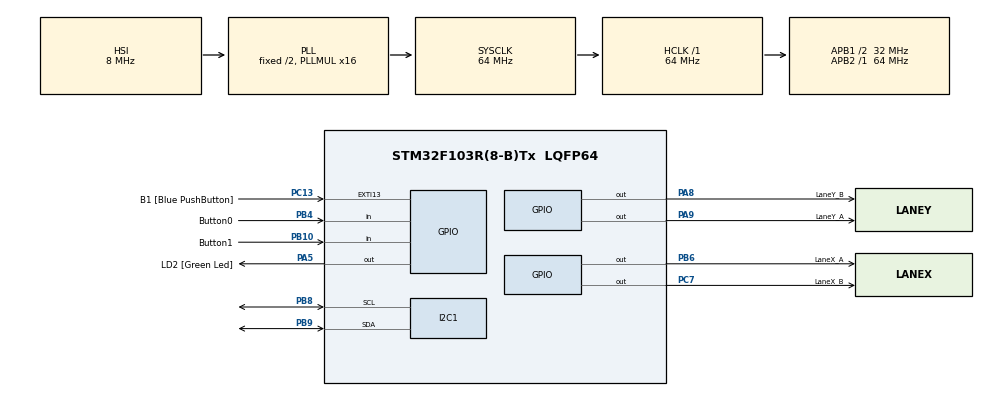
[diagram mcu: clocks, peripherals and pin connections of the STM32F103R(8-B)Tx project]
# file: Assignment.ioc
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I2C1.OwnAddress=41
Mcu.Family=STM32F1
Mcu.Name=STM32F103R(8-B)Tx
Mcu.Package=LQFP64
NVIC.EXTI15_10_IRQn=true\:0\:0\:false\:false\:true\:true\:true\:true
NVIC.I2C1_ER_IRQn=true\:0\:0\:false\:false\:true\:true\:true\:true
NVIC.I2C1_EV_IRQn=true\:0\:0\:false\:false\:true\:true\:true\:true
NVIC.PriorityGroup=NVIC_PRIORITYGROUP_4
NVIC.TIM2_IRQn=true\:0\:0\:false\:false\:true\:true\:true\:true
PA13.GPIO_Label=TMS
PA13.Mode=Serial_Wire
PA13.Signal=SYS_JTMS-SWDIO
PA14.GPIO_Label=TCK
PA14.Mode=Serial_Wire
PA14.Signal=SYS_JTCK-SWCLK
PA2.GPIO_Label=USART_TX
PA2.GPIO_Mode=GPIO_MODE_AF_PP
PA2.GPIO_PuPd=GPIO_NOPULL
PA2.GPIO_Speed=GPIO_SPEED_FREQ_LOW
PA2.Signal=USART2_TX
PA3.GPIO_Label=USART_RX
PA3.GPIO_Mode=GPIO_MODE_AF_PP
PA3.GPIO_PuPd=GPIO_NOPULL
PA3.GPIO_Speed=GPIO_SPEED_FREQ_LOW
PA3.Signal=USART2_RX
PA5.GPIO_Label=LD2 [Green Led]
PA5.GPIO_ModeDefaultOutputPP=GPIO_MODE_OUTPUT_PP
PA5.GPIO_PuPd=GPIO_NOPULL
PA5.GPIO_Speed=GPIO_SPEED_FREQ_LOW
PA5.Signal=GPIO_Output
PA8.GPIO_Label=LaneY_B
PA8.Signal=GPIO_Output
PA9.GPIO_Label=LaneY_A
PA9.Signal=GPIO_Output
PB10.GPIO_Label=Button1
PB10.GPIO_PuPd=GPIO_PULLUP
PB10.Signal=GPIO_Input
PB3.GPIO_Label=SWO
PB3.Signal=SYS_JTDO-TRACESWO
PB4.GPIO_Label=Button0
PB4.GPIO_PuPd=GPIO_PULLUP
PB4.Signal=GPIO_Input
PB6.GPIO_Label=LaneX_A
PB6.Signal=GPIO_Output
PB8.GPIO_Mode=GPIO_MODE_AF_OD
PB8.Mode=I2C
PB8.Signal=I2C1_SCL
PB9.Mode=I2C
PB9.Signal=I2C1_SDA
PC13-TAMPER-RTC.GPIO_Label=B1 [Blue PushButton]
PC13-TAMPER-RTC.GPIO_PuPd=GPIO_NOPULL
PC13-TAMPER-RTC.Signal=GPXTI13
PC14-OSC32_IN.Mode=LSE-External-Oscillator
PC14-OSC32_IN.Signal=RCC_OSC32_IN
PC15-OSC32_OUT.Mode=LSE-External-Oscillator
PC15-OSC32_OUT.Signal=RCC_OSC32_OUT
PC7.GPIO_Label=LaneX_B
PC7.Signal=GPIO_Output
PD0-OSC_IN.Mode=HSE-External-Clock-Source
PD0-OSC_IN.Signal=RCC_OSC_IN
PD1-OSC_OUT.Mode=HSE-External-Clock-Source
PD1-OSC_OUT.Signal=RCC_OSC_OUT
ProjectManager.HeapSize=0x200
ProjectManager.StackSize=0x400
ProjectManager.TargetToolchain=STM32CubeIDE
RCC.AHBFreq_Value=64000000
RCC.APB1CLKDivider=RCC_HCLK_DIV2
RCC.APB1Freq_Value=32000000
RCC.APB1TimFreq_Value=64000000
RCC.APB2Freq_Value=64000000
RCC.APB2TimFreq_Value=64000000
RCC.HCLKFreq_Value=64000000
RCC.PLLMUL=RCC_PLL_MUL16
RCC.RTCClockSelection=RCC_RTCCLKSOURCE_LSE
RCC.SYSCLKFreq_VALUE=64000000
RCC.SYSCLKSource=RCC_SYSCLKSOURCE_PLLCLK
RCC.USBFreq_Value=64000000
TIM2.Period=10
TIM2.Prescaler=63999
VP_TIM2_VS_ClockSourceINT.Mode=Internal
board=NUCLEO-F103RB

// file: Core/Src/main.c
/* USER CODE BEGIN Header */
/**
  ******************************************************************************
  * @file           : main.c
  * @brief          : Main program body
  ******************************************************************************
  * @attention
  *
  * Copyright (c) 2024 STMicroelectronics.
  * All rights reserved.
  *
  * This software is licensed under terms that can be found in the LICENSE file
  * in the root directory of this software component.
  * If no LICENSE file comes with this software, it is provided AS-IS.
  *
  ******************************************************************************
  */
/* USER CODE END Header */
#include "main.h"

/* USER CODE BEGIN Includes */
#include "I2C_LCD.h"
#include "global.h"

/* USER CODE END Includes */

I2C_HandleTypeDef hi2c1;

TIM_HandleTypeDef htim2;

void SystemClock_Config(void);
static void MX_GPIO_Init(void);
static void MX_I2C1_Init(void);
static void MX_TIM2_Init(void);

int main(void)
{

  /* MCU Configuration--------------------------------------------------------*/

  /* Reset of all peripherals, Initializes the Flash interface and the Systick. */
  HAL_Init();

  /* Configure the system clock */
  SystemClock_Config();

  /* Initialize all configured peripherals */
  MX_GPIO_Init();
  MX_I2C1_Init();
  MX_TIM2_Init();

  /* Infinite loop */
  /* USER CODE BEGIN WHILE */
  HAL_TIM_Base_Start_IT(&htim2);
  initScheduler(10);
  lcd_init();
  initButton(2, 1000, 10);
  addTaskSch(buttonReading, 0, 10);
  addTaskSch(autoModeFSM, 30, 100);
  addTaskSch(manualModeFSM, 30, 30);
  addTaskSch(modifyModeFSM, 20, 30);
	addTaskSch(updateLCD_TrafficTime, 100, 300);
  addTaskSch(decreaseTimeCounter, 300, 1000);
  while (1)
  {
	  dispatchTaskSch();
    /* USER CODE END WHILE */

  }
}

void SystemClock_Config(void)
{
  RCC_OscInitTypeDef RCC_OscInitStruct = {0};
  RCC_ClkInitTypeDef RCC_ClkInitStruct = {0};

  /** Initializes the RCC Oscillators according to the specified parameters
  * in the RCC_OscInitTypeDef structure.
  */
  RCC_OscInitStruct.OscillatorType = RCC_OSCILLATORTYPE_HSI;
  RCC_OscInitStruct.HSIState = RCC_HSI_ON;
  RCC_OscInitStruct.HSICalibrationValue = RCC_HSICALIBRATION_DEFAULT;
  RCC_OscInitStruct.PLL.PLLState = RCC_PLL_ON;
  RCC_OscInitStruct.PLL.PLLSource = RCC_PLLSOURCE_HSI_DIV2;
  RCC_OscInitStruct.PLL.PLLMUL = RCC_PLL_MUL16;
  if (HAL_RCC_OscConfig(&RCC_OscInitStruct) != HAL_OK)
  {
    Error_Handler();
  }

  /** Initializes the CPU, AHB and APB buses clocks
  */
  RCC_ClkInitStruct.ClockType = RCC_CLOCKTYPE_HCLK|RCC_CLOCKTYPE_SYSCLK
                              |RCC_CLOCKTYPE_PCLK1|RCC_CLOCKTYPE_PCLK2;
  RCC_ClkInitStruct.SYSCLKSource = RCC_SYSCLKSOURCE_PLLCLK;
  RCC_ClkInitStruct.AHBCLKDivider = RCC_SYSCLK_DIV1;
  RCC_ClkInitStruct.APB1CLKDivider = RCC_HCLK_DIV2;
  RCC_ClkInitStruct.APB2CLKDivider = RCC_HCLK_DIV1;

  if (HAL_RCC_ClockConfig(&RCC_ClkInitStruct, FLASH_LATENCY_2) != HAL_OK)
  {
    Error_Handler();
  }
}

static void MX_I2C1_Init(void)
{

  hi2c1.Instance = I2C1;
  hi2c1.Init.ClockSpeed = 100000;
  hi2c1.Init.DutyCycle = I2C_DUTYCYCLE_2;
  hi2c1.Init.OwnAddress1 = 82;
  hi2c1.Init.AddressingMode = I2C_ADDRESSINGMODE_7BIT;
  hi2c1.Init.DualAddressMode = I2C_DUALADDRESS_DISABLE;
  hi2c1.Init.OwnAddress2 = 0;
  hi2c1.Init.GeneralCallMode = I2C_GENERALCALL_DISABLE;
  hi2c1.Init.NoStretchMode = I2C_NOSTRETCH_DISABLE;
  if (HAL_I2C_Init(&hi2c1) != HAL_OK)
  {
    Error_Handler();
  }

}

static void MX_TIM2_Init(void)
{

  TIM_ClockConfigTypeDef sClockSourceConfig = {0};
  TIM_MasterConfigTypeDef sMasterConfig = {0};

  htim2.Instance = TIM2;
  htim2.Init.Prescaler = 63999;
  htim2.Init.CounterMode = TIM_COUNTERMODE_UP;
  htim2.Init.Period = 10;
  htim2.Init.ClockDivision = TIM_CLOCKDIVISION_DIV1;
  htim2.Init.AutoReloadPreload = TIM_AUTORELOAD_PRELOAD_DISABLE;
  if (HAL_TIM_Base_Init(&htim2) != HAL_OK)
  {
    Error_Handler();
  }
  sClockSourceConfig.ClockSource = TIM_CLOCKSOURCE_INTERNAL;
  if (HAL_TIM_ConfigClockSource(&htim2, &sClockSourceConfig) != HAL_OK)
  {
    Error_Handler();
  }
  sMasterConfig.MasterOutputTrigger = TIM_TRGO_RESET;
  sMasterConfig.MasterSlaveMode = TIM_MASTERSLAVEMODE_DISABLE;
  if (HAL_TIMEx_MasterConfigSynchronization(&htim2, &sMasterConfig) != HAL_OK)
  {
    Error_Handler();
  }

}

static void MX_GPIO_Init(void)
{
  GPIO_InitTypeDef GPIO_InitStruct = {0};

  /* GPIO Ports Clock Enable */
  __HAL_RCC_GPIOC_CLK_ENABLE();
  __HAL_RCC_GPIOD_CLK_ENABLE();
  __HAL_RCC_GPIOA_CLK_ENABLE();
  __HAL_RCC_GPIOB_CLK_ENABLE();

  /*Configure GPIO pin Output Level */
  HAL_GPIO_WritePin(GPIOA, LD2_Pin|LaneY_B_Pin|LaneY_A_Pin, GPIO_PIN_RESET);

  /*Configure GPIO pin Output Level */
  HAL_GPIO_WritePin(LaneX_B_GPIO_Port, LaneX_B_Pin, GPIO_PIN_RESET);

  /*Configure GPIO pin Output Level */
  HAL_GPIO_WritePin(LaneX_A_GPIO_Port, LaneX_A_Pin, GPIO_PIN_RESET);

  /*Configure GPIO pin : B1_Pin */
  GPIO_InitStruct.Pin = B1_Pin;
  GPIO_InitStruct.Mode = GPIO_MODE_IT_RISING;
  GPIO_InitStruct.Pull = GPIO_NOPULL;
  HAL_GPIO_Init(B1_GPIO_Port, &GPIO_InitStruct);

  /*Configure GPIO pins : USART_TX_Pin USART_RX_Pin */
  GPIO_InitStruct.Pin = USART_TX_Pin|USART_RX_Pin;
  GPIO_InitStruct.Mode = GPIO_MODE_AF_PP;
  GPIO_InitStruct.Speed = GPIO_SPEED_FREQ_LOW;
  HAL_GPIO_Init(GPIOA, &GPIO_InitStruct);

  /*Configure GPIO pins : LD2_Pin LaneY_B_Pin LaneY_A_Pin */
  GPIO_InitStruct.Pin = LD2_Pin|LaneY_B_Pin|LaneY_A_Pin;
  GPIO_InitStruct.Mode = GPIO_MODE_OUTPUT_PP;
  GPIO_InitStruct.Pull = GPIO_NOPULL;
  GPIO_InitStruct.Speed = GPIO_SPEED_FREQ_LOW;
  HAL_GPIO_Init(GPIOA, &GPIO_InitStruct);

  /*Configure GPIO pins : Button1_Pin Button0_Pin */
  GPIO_InitStruct.Pin = Button1_Pin|Button0_Pin;
  GPIO_InitStruct.Mode = GPIO_MODE_INPUT;
  GPIO_InitStruct.Pull = GPIO_PULLUP;
  HAL_GPIO_Init(GPIOB, &GPIO_InitStruct);

  /*Configure GPIO pin : LaneX_B_Pin */
  GPIO_InitStruct.Pin = LaneX_B_Pin;
  GPIO_InitStruct.Mode = GPIO_MODE_OUTPUT_PP;
  GPIO_InitStruct.Pull = GPIO_NOPULL;
  GPIO_InitStruct.Speed = GPIO_SPEED_FREQ_LOW;
  HAL_GPIO_Init(LaneX_B_GPIO_Port, &GPIO_InitStruct);

  /*Configure GPIO pin : LaneX_A_Pin */
  GPIO_InitStruct.Pin = LaneX_A_Pin;
  GPIO_InitStruct.Mode = GPIO_MODE_OUTPUT_PP;
  GPIO_InitStruct.Pull = GPIO_NOPULL;
  GPIO_InitStruct.Speed = GPIO_SPEED_FREQ_LOW;
  HAL_GPIO_Init(LaneX_A_GPIO_Port, &GPIO_InitStruct);

  /* EXTI interrupt init*/
  HAL_NVIC_SetPriority(EXTI15_10_IRQn, 0, 0);
  HAL_NVIC_EnableIRQ(EXTI15_10_IRQn);

}

/* USER CODE BEGIN 4 */
void HAL_TIM_PeriodElapsedCallback(TIM_HandleTypeDef *htim){
	updateSch();
}

/* USER CODE END 4 */

void Error_Handler(void)
{
  __disable_irq();
  while (1)
  {
  }
}
